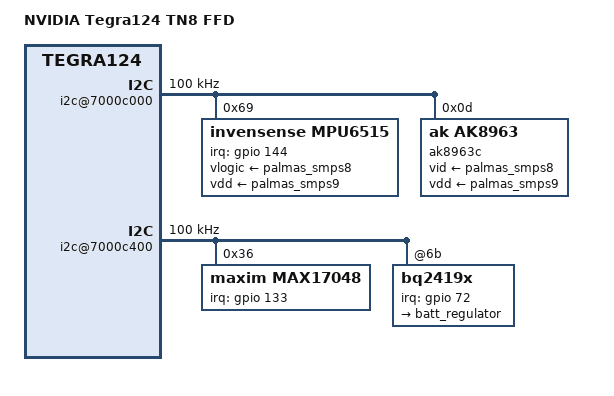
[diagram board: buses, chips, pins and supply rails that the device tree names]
/dts-v1/;

#include "tegra124.dtsi"
#include "tegra124-platforms/tegra124-tn8-io.dtsi"
#include "tegra124-platforms/tegra124-tn8-p1761-emc.dtsi"
#include "tegra124-platforms/tegra124-tn8-e1936-pmic.dtsi"
#include "tegra124-platforms/tegra124-tn8-e1936-fixed.dtsi"
#include "tegra124-platforms/tegra124-p1761-pinmux.dtsi"
#include "tegra124-platforms/tegra124-p1761-gpio-default.dtsi"
#include "tegra124-platforms/tegra124-e1780-keys.dtsi"
#include "tegra124-platforms/tegra124-tn8-sysedp.dtsi"

/ {
	model = "NVIDIA Tegra124 TN8 FFD";
	compatible = "nvidia,tn8", "nvidia,tegra124";
	nvidia,dtsfilename = __FILE__;
	nvidia,boardids = "1761:1470:0:B:6";
	#address-cells = <1>;
	#size-cells = <1>;

	chosen {
		bootargs = "tegraid=40.0.0.00.00 vmalloc=256M video=tegrafb console=ttyS0,115200n8 earlyprintk";
		linux,initrd-start = <0x85000000>;
		linux,initrd-end = <0x851bc400>;
	};

	i2c@7000c000 {
		status = "okay";
		clock-frequency = <100000>;

		mpu6515@69 {
			compatible = "invensense,mpu6515";
			reg = <0x69>;
			interrupt-parent = <&gpio>;
			interrupts = <144 0x01>;
			invensense,int_config = <0x10>;
			invensense,level_shifter = <0>;
			invensense,orientation = [01 00 00 00 ff 00 00 00 ff];
			invensense,sec_slave_type = <0>;
			invensense,key = [4e cc 7e eb f6 1e 35 22
					  00 34 0d 65 32 e9 94 89];
			vlogic-supply = <&palmas_smps8>;
			vdd-supply = <&palmas_smps9>;
		};

		ak8963c@0d {
			compatible = "ak,ak8963";
			reg = <0x0d>;
			orientation = [01 00 00 00 ff 00 00 00 ff];
			config = "mpu";
			vid-supply = <&palmas_smps8>;
			vdd-supply = <&palmas_smps9>;
		};
	};

	i2c@7000c400 {
		status = "okay";
		clock-frequency = <100000>;

		max17048@36 {
			compatible = "maxim,max17048";
			reg = <0x36>;
			interrupt-parent = <&gpio>;
			interrupts = <133 0x0>;        /* gpio PQ5 */
			tz-name = "battery-temp";
			alert-threshold = <0>;          /* 1% SOC */
			one-percent-alerts = <1>;
			valert-max = <5100>;            /* not use */
			valert-min = <0>;            /* not use */
			vreset-threshold = <2400>;
			vreset-disable = <1>;           /* not use */
			hib-threshold = <48>;           /* 9.984%/hr */
			hib-active-threshold = <128>;   /* 160mV */
			bits = <18>;
			rcomp = <57>;
			rcomp-seg = <0x0200>;
			soccheck-a = <119>;
			soccheck-b = <121>;
			ocvtest = <55952>;
			data-tbl = <0x98 0x80 0xB3 0x50 0xB7 0x90 0xB9 0x00
				0xBA 0x70 0xBC 0x10 0xBC 0x50 0xBC 0xA0
				0xBD 0x20 0xBE 0x30 0xBF 0x40 0xC2 0xF0
				0xC4 0x20 0xC7 0xE0 0xCB 0xF0 0xD0 0x90
				0x00 0x40 0x06 0x70 0x0E 0x50 0x12 0x00
				0x18 0xD0 0x33 0x10 0x31 0x40 0x35 0xD0
				0x18 0xD0 0x19 0x00 0x0B 0xF0 0x0C 0x10
				0x0D 0x10 0x07 0x90 0x08 0x00 0x08 0x00>;
		};

		bq2419x: bq2419x@6b {
			interrupt-parent = <&gpio>;
			interrupts = <72 0x0>;

			charger {
				regulator-name = "batt_regulator";
				regulator-max-microamp = <3000>;
				watchdog-timeout = <40>;
				rtc-alarm-time = <3600>;
				auto-recharge-time = <1800>;
				consumers {
					c1 {
						regulator-consumer-supply = "usb_bat_chg";
						regulator-consumer-device = "tegra-udc.0";
					};
				};
			};
		};
	};

};

